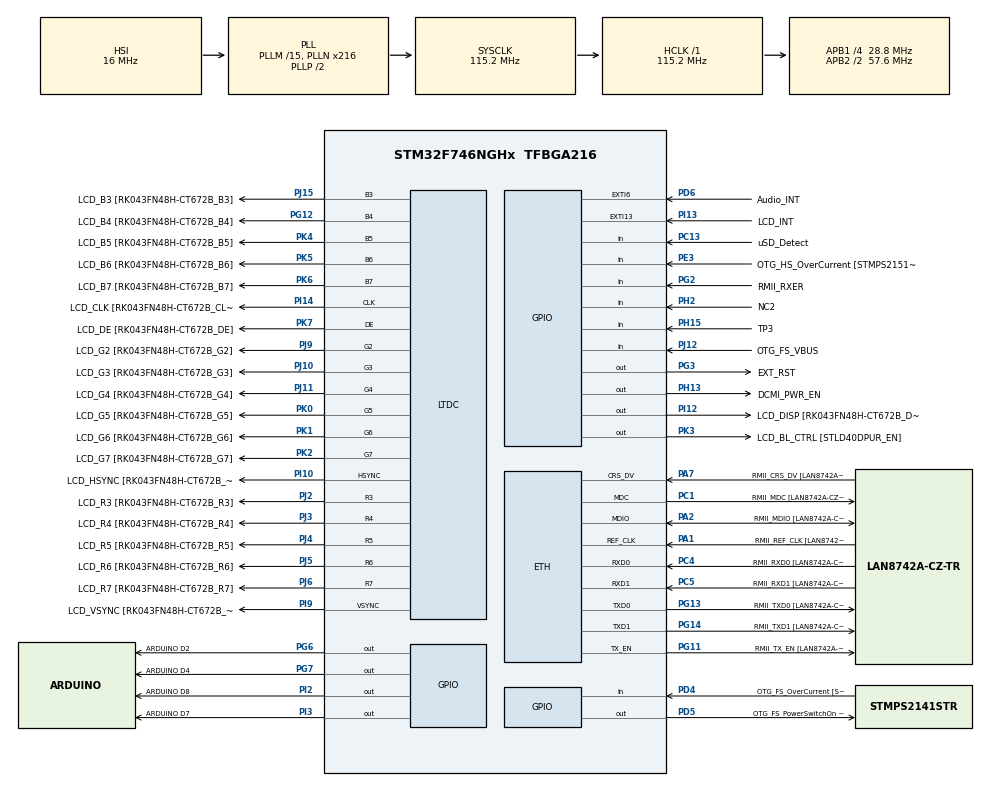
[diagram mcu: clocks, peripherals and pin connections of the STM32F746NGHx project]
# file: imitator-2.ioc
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CORTEX_M7.CPU_DCache=Disabled
CORTEX_M7.CPU_ICache=Disabled
CORTEX_M7.MPU_Control=__NULL
ETH.MediaInterface=HAL_ETH_RMII_MODE
FREERTOS.Tasks01=defaultTask,24,512,StartDefaultTask,Default,NULL,Dynamic,NULL,NULL;myTask,24,512,StartTaskEtherStates,Default,NULL,Dynamic,NULL,NULL
FREERTOS.configUSE_NEWLIB_REENTRANT=1
LTDC.ActiveH=272
LTDC.ActiveW=480
LTDC.Alpha_L0=255
LTDC.HBP=43
LTDC.HFP=8
LTDC.HSync=1
LTDC.ImageHeight_L0=272
LTDC.ImageWidth_L0=480
LTDC.Layers=0
LTDC.PixelFormat_L0=LTDC_PIXEL_FORMAT_RGB565
LTDC.VBP=12
LTDC.VFP=4
LTDC.VSync=10
LTDC.WindowX1_L0=480
LTDC.WindowY1_L0=272
LWIP.BSP.number=1
LWIP.DEFAULT_THREAD_PRIO=3
LWIP.GATEWAY_ADDRESS=192.168.000.001
LWIP.IP_ADDRESS=192.168.000.123
LWIP.LWIP_DHCP=0
LWIP.LWIP_HTTPD=0
LWIP.LWIP_ICMP=1
LWIP.MEM_SIZE=4096
LWIP.NETMASK_ADDRESS=255.255.255.000
LWIP.SYS_LIGHTWEIGHT_PROT=1
LWIP.Version=v2.1.2_Cube
LWIP0.BSP.STBoard=false
LWIP0.BSP.api=BSP_COMPONENT_DRIVER
LWIP0.BSP.component=LAN8742
LWIP0.BSP.instance=LAN8742
LWIP0.BSP.name=Driver_PHY
LWIP0.BSP.semaphore=S_LAN8742
LWIP0.BSP.solution=LAN8742
Mcu.Family=STM32F7
Mcu.Name=STM32F746NGHx
Mcu.Package=TFBGA216
NVIC.ETH_IRQn=true\:5\:0\:false\:false\:true\:true\:true\:true\:true
NVIC.LTDC_ER_IRQn=true\:5\:0\:false\:false\:true\:true\:true\:true\:true
NVIC.LTDC_IRQn=true\:5\:0\:false\:false\:true\:true\:true\:true\:true
NVIC.PriorityGroup=NVIC_PRIORITYGROUP_4
NVIC.RCC_IRQn=true\:5\:0\:false\:false\:true\:true\:true\:false\:true
NVIC.TIM6_DAC_IRQn=true\:15\:0\:false\:false\:true\:false\:false\:true\:true
NVIC.TimeBase=TIM6_DAC_IRQn
NVIC.TimeBaseIP=TIM6
PA0/WKUP.Signal=ADCx_IN0
PA1.GPIO_Label=RMII_REF_CLK [LAN8742A-CZ-TR_REFCLK0]
PA1.Mode=RMII
PA1.Signal=ETH_REF_CLK
PA10.GPIO_Label=OTG_FS_ID
PA10.Signal=USB_OTG_FS_ID
PA11.GPIO_Label=OTG_FS_N
PA11.Signal=USB_OTG_FS_DM
PA12.GPIO_Label=OTG_FS_P
PA12.Signal=USB_OTG_FS_DP
PA13.GPIO_Label=SWDIO
PA13.Signal=SYS_JTMS-SWDIO
PA14.GPIO_Label=SWCLK
PA14.Signal=SYS_JTCK-SWCLK
PA15.GPIO_Label=ARDUINO PWM/D9
PA15.GPIO_ModeDefaultPP=GPIO_MODE_AF_PP
PA15.GPIO_PuPd=GPIO_NOPULL
PA15.GPIO_Speed=GPIO_SPEED_FREQ_LOW
PA15.Signal=S_TIM2_CH1_ETR
PA2.GPIO_Label=RMII_MDIO [LAN8742A-CZ-TR_MDIO]
PA2.Mode=RMII
PA2.Signal=ETH_MDIO
PA3.GPIO_Label=ULPI_D0 [USB3320C-EZK_D0]
PA3.Signal=USB_OTG_HS_ULPI_D0
PA4.GPIO_Label=DCMI_HSYNC
PA4.Signal=DCMI_HSYNC
PA5.GPIO_Label=ULPI_CLK [USB3320C-EZK_CLKOUT]
PA5.Signal=USB_OTG_HS_ULPI_CK
PA6.Signal=DCMI_PIXCLK
PA7.GPIO_Label=RMII_CRS_DV [LAN8742A-CZ-TR_CRS_DV]
PA7.Mode=RMII
PA7.Signal=ETH_CRS_DV
PA8.GPIO_Label=ARDUINO PWM/D10
PA8.GPIO_ModeDefaultPP=GPIO_MODE_AF_PP
PA8.GPIO_PuPd=GPIO_NOPULL
PA8.GPIO_Speed=GPIO_SPEED_FREQ_LOW
PA8.Signal=S_TIM1_CH1
PA9.GPIO_Label=VCP_TX [STM32F103CBT6_PA3]
PA9.GPIO_Mode=GPIO_MODE_AF_PP
PA9.GPIO_PuPd=GPIO_NOPULL
PA9.GPIO_Speed=GPIO_SPEED_FREQ_LOW
PA9.Signal=USART1_TX
PB0.GPIO_Label=ULPI_D1 [USB3320C-EZK_D1]
PB0.Signal=USB_OTG_HS_ULPI_D1
PB1.GPIO_Label=ULPI_D2 [USB3320C-EZK_D2]
PB1.Signal=USB_OTG_HS_ULPI_D2
PB10.GPIO_Label=ULPI_D3 [USB3320C-EZK_D3]
PB10.Signal=USB_OTG_HS_ULPI_D3
PB11.GPIO_Label=ULPI_D4 [USB3320C-EZK_D4]
PB11.Signal=USB_OTG_HS_ULPI_D4
PB12.GPIO_Label=ULPI_D5 [USB3320C-EZK_D5]
PB12.Signal=USB_OTG_HS_ULPI_D5
PB13.GPIO_Label=ULPI_D6 [USB3320C-EZK_D6]
PB13.Signal=USB_OTG_HS_ULPI_D6
PB14.GPIO_Label=ARDUINO MISO/D12
PB14.GPIO_Mode=GPIO_MODE_AF_PP
PB14.GPIO_PuPd=GPIO_NOPULL
PB14.GPIO_Speed=GPIO_SPEED_FREQ_LOW
PB14.Signal=SPI2_MISO
PB15.GPIO_Label=ARDUINO MOSI/PWM/D11
PB15.GPIO_Mode=GPIO_MODE_AF_PP
PB15.GPIO_PuPd=GPIO_NOPULL
PB15.GPIO_Speed=GPIO_SPEED_FREQ_LOW
PB15.Signal=SPI2_MOSI
PB2.Signal=QUADSPI_CLK
PB3.GPIO_Label=SWO
PB3.Signal=SYS_JTDO-SWO
PB4.GPIO_Label=ARDUINO PWM/D3
PB4.GPIO_ModeDefaultPP=GPIO_MODE_AF_PP
PB4.GPIO_PuPd=GPIO_NOPULL
PB4.GPIO_Speed=GPIO_SPEED_FREQ_LOW
PB4.Signal=S_TIM3_CH1
PB5.GPIO_Label=ULPI_D7 [USB3320C-EZK_D7]
PB5.Signal=USB_OTG_HS_ULPI_D7
PB6.GPIO_Label=QSPI_NCS [N25Q128A13EF840E_S]
PB6.Signal=QUADSPI_BK1_NCS
PB7.GPIO_Label=VCP_RX [STM32F103CBT6_PA2]
PB7.GPIO_Mode=GPIO_MODE_AF_PP
PB7.GPIO_PuPd=GPIO_NOPULL
PB7.GPIO_Speed=GPIO_SPEED_FREQ_LOW
PB7.Signal=USART1_RX
PB8.GPIO_Label=ARDUINO SCL/D15
PB8.GPIO_Mode=GPIO_MODE_AF_OD
PB8.GPIO_PuPd=GPIO_NOPULL
PB8.GPIO_Speed=GPIO_SPEED_FREQ_LOW
PB8.Signal=I2C1_SCL
PB9.GPIO_Label=ARDUINO SDA/D14
PB9.GPIO_Mode=GPIO_MODE_AF_OD
PB9.GPIO_PuPd=GPIO_NOPULL
PB9.GPIO_Speed=GPIO_SPEED_FREQ_LOW
PB9.Signal=I2C1_SDA
PC0.GPIO_Label=ULPI_STP [USB3320C-EZK_STP]
PC0.Signal=USB_OTG_HS_ULPI_STP
PC1.GPIO_Label=RMII_MDC [LAN8742A-CZ-TR_MDC]
PC1.Mode=RMII
PC1.Signal=ETH_MDC
PC10.GPIO_Label=SDMMC_D2
PC10.Signal=SDMMC1_D2
PC11.GPIO_Label=SDMMC_D3
PC11.Signal=SDMMC1_D3
PC12.GPIO_Label=SDMMC_CK
PC12.Signal=SDMMC1_CK
PC13.GPIO_Label=uSD_Detect
PC13.Signal=GPIO_Input
PC14/OSC32_IN.GPIO_Label=RCC_OSC32_IN
PC14/OSC32_IN.Signal=RCC_OSC32_IN
PC15/OSC32_OUT.GPIO_Label=RCC_OSC32_OUT
PC15/OSC32_OUT.Signal=RCC_OSC32_OUT
PC2.GPIO_Label=ULPI_DIR [USB3320C-EZK_DIR]
PC2.Signal=USB_OTG_HS_ULPI_DIR
PC3.GPIO_Label=FMC_SDCKE0 [MT48LC4M32B2B5-6A_CKE]
PC3.Signal=FMC_SDCKE0
PC4.GPIO_Label=RMII_RXD0 [LAN8742A-CZ-TR_RXD0]
PC4.Mode=RMII
PC4.Signal=ETH_RXD0
PC5.GPIO_Label=RMII_RXD1 [LAN8742A-CZ-TR_RXD1]
PC5.Mode=RMII
PC5.Signal=ETH_RXD1
PC6.GPIO_Label=ARDUINO TX/D1
PC6.Signal=USART6_TX
PC7.GPIO_Label=ARDUINO RX/D0
PC7.Signal=USART6_RX
PC8.Signal=SDMMC1_D0
PC9.Signal=SDMMC1_D1
PD0.GPIO_Label=FMC_D2 [MT48LC4M32B2B5-6A_DQ2]
PD0.Signal=FMC_D2_DA2
PD1.GPIO_Label=FMC_D3 [MT48LC4M32B2B5-6A_DQ3]
PD1.Signal=FMC_D3_DA3
PD10.GPIO_Label=FMC_D15 [MT48LC4M32B2B5-6A_DQ15]
PD10.Signal=FMC_D15_DA15
PD11.GPIO_Label=QSPI_D0 [N25Q128A13EF840E_DQ0]
PD11.Signal=QUADSPI_BK1_IO0
PD12.GPIO_Label=QSPI_D1 [N25Q128A13EF840E_DQ1]
PD12.Signal=QUADSPI_BK1_IO1
PD13.GPIO_Label=QSPI_D3 [N25Q128A13EF840E_DQ3]
PD13.Signal=QUADSPI_BK1_IO3
PD14.GPIO_Label=FMC_D0 [MT48LC4M32B2B5-6A_DQ0]
PD14.Signal=FMC_D0_DA0
PD15.GPIO_Label=FMC_D1 [MT48LC4M32B2B5-6A_DQ1]
PD15.Signal=FMC_D1_DA1
PD2.GPIO_Label=SDMMC_D0
PD2.Signal=SDMMC1_CMD
PD3.GPIO_Label=DCMI_D5
PD3.Signal=DCMI_D5
PD4.GPIO_Label=OTG_FS_OverCurrent [STMPS2141STR_Fault]
PD4.Signal=GPIO_Input
PD5.GPIO_Label=OTG_FS_PowerSwitchOn [STMPS2141STR_EN]
PD5.PinState=GPIO_PIN_SET
PD5.Signal=GPIO_Output
PD6.GPIO_Label=Audio_INT
PD6.GPIO_ModeDefaultEXTI=GPIO_MODE_EVT_RISING
PD6.Signal=GPXTI6
PD7.GPIO_Label=SPDIF_RX0 [74LVC1G04SE_4]
PD7.Signal=SPDIFRX_IN0
PD8.GPIO_Label=FMC_D13 [MT48LC4M32B2B5-6A_DQ13]
PD8.Signal=FMC_D13_DA13
PD9.GPIO_Label=FMC_D14 [MT48LC4M32B2B5-6A_DQ14]
PD9.Signal=FMC_D14_DA14
PE0.GPIO_Label=FMC_NBL0 [MT48LC4M32B2B5-6A_DQM0]
PE0.Signal=FMC_NBL0
PE1.GPIO_Label=FMC_NBL1 [MT48LC4M32B2B5-6A_DQM1]
PE1.Signal=FMC_NBL1
PE10.GPIO_Label=FMC_D7 [MT48LC4M32B2B5-6A_DQ7]
PE10.Signal=FMC_D7_DA7
PE11.GPIO_Label=FMC_D8 [MT48LC4M32B2B5-6A_DQ8]
PE11.Signal=FMC_D8_DA8
PE12.GPIO_Label=FMC_D9 [MT48LC4M32B2B5-6A_DQ9]
PE12.Signal=FMC_D9_DA9
PE13.GPIO_Label=FMC_D10 [MT48LC4M32B2B5-6A_DQ10]
PE13.Signal=FMC_D10_DA10
PE14.GPIO_Label=FMC_D11 [MT48LC4M32B2B5-6A_DQ11]
PE14.Signal=FMC_D11_DA11
PE15.GPIO_Label=FMC_D12 [MT48LC4M32B2B5-6A_DQ12]
PE15.Signal=FMC_D12_DA12
PE2.GPIO_Label=QSPI_D2 [N25Q128A13EF840E_DQ2]
PE2.Signal=QUADSPI_BK1_IO2
PE3.GPIO_Label=OTG_HS_OverCurrent [STMPS2151STR_FAULT]
PE3.Signal=GPIO_Input
PE4.GPIO_Label=LCD_B0 [RK043FN48H-CT672B_B0]
PE4.Signal=LTDC_B0
PE5.GPIO_Label=DCMI_D6
PE5.Signal=DCMI_D6
PE6.GPIO_Label=DCMI_D7
PE6.Signal=DCMI_D7
PE7.GPIO_Label=FMC_D4 [MT48LC4M32B2B5-6A_DQ4]
PE7.Signal=FMC_D4_DA4
PE8.GPIO_Label=FMC_D5 [MT48LC4M32B2B5-6A_DQ5]
PE8.Signal=FMC_D5_DA5
PE9.GPIO_Label=FMC_D6 [MT48LC4M32B2B5-6A_DQ6]
PE9.Signal=FMC_D6_DA6
PF0.GPIO_Label=FMC_A0 [MT48LC4M32B2B5-6A_A0]
PF0.Signal=FMC_A0
PF1.GPIO_Label=FMC_A1 [MT48LC4M32B2B5-6A_A1]
PF1.Signal=FMC_A1
PF10.GPIO_Label=ARDUINO A1
PF10.GPIO_Mode=GPIO_MODE_ANALOG
PF10.GPIO_PuPd=GPIO_NOPULL
PF10.Signal=ADC3_IN8
PF11.GPIO_Label=FMC_SDNRAS [MT48LC4M32B2B5-6A_RAS]
PF11.Signal=FMC_SDNRAS
PF12.GPIO_Label=FMC_A6 [MT48LC4M32B2B5-6A_A6]
PF12.Signal=FMC_A6
PF13.GPIO_Label=FMC_A7 [MT48LC4M32B2B5-6A_A7]
PF13.Signal=FMC_A7
PF14.GPIO_Label=FMC_A8 [MT48LC4M32B2B5-6A_A8]
PF14.Signal=FMC_A8
PF15.GPIO_Label=FMC_A9 [MT48LC4M32B2B5-6A_A9]
PF15.Signal=FMC_A9
PF2.GPIO_Label=FMC_A2 [MT48LC4M32B2B5-6A_A2]
PF2.Signal=FMC_A2
PF3.GPIO_Label=FMC_A3 [MT48LC4M32B2B5-6A_A3]
PF3.Signal=FMC_A3
PF4.GPIO_Label=FMC_A4 [MT48LC4M32B2B5-6A_A4]
PF4.Signal=FMC_A4
PF5.GPIO_Label=FMC_A5 [MT48LC4M32B2B5-6A_A5]
PF5.Signal=FMC_A5
PF6.GPIO_Label=ARDUINO A5
PF6.GPIO_Mode=GPIO_MODE_ANALOG
PF6.GPIO_PuPd=GPIO_NOPULL
PF6.Signal=ADC3_IN4
PF7.GPIO_Label=ARDUINO A4
PF7.GPIO_Mode=GPIO_MODE_ANALOG
PF7.GPIO_PuPd=GPIO_NOPULL
PF7.Signal=ADC3_IN5
PF8.GPIO_Label=ARDUINO A3
PF8.GPIO_Mode=GPIO_MODE_ANALOG
PF8.GPIO_PuPd=GPIO_NOPULL
PF8.Signal=ADC3_IN6
PF9.GPIO_Label=ARDUINO A2
PF9.GPIO_Mode=GPIO_MODE_ANALOG
PF9.GPIO_PuPd=GPIO_NOPULL
PF9.Signal=ADC3_IN7
PG0.GPIO_Label=FMC_A10 [MT48LC4M32B2B5-6A_A10]
PG0.Signal=FMC_A10
PG1.GPIO_Label=FMC_A11 [MT48LC4M32B2B5-6A_A11]
PG1.Signal=FMC_A11
PG10.GPIO_Label=SAI2_SDB [WM8994ECS/R_ADCDAT1]
PG10.Signal=SAI2_SD_B
PG11.GPIO_Label=RMII_TX_EN [LAN8742A-CZ-TR_TXEN]
PG11.Mode=RMII
PG11.Signal=ETH_TX_EN
PG12.GPIO_Label=LCD_B4 [RK043FN48H-CT672B_B4]
PG12.Mode=RGB565
PG12.Signal=LTDC_B4
PG13.GPIO_Label=RMII_TXD0 [LAN8742A-CZ-TR_TXD0]
PG13.Mode=RMII
PG13.Signal=ETH_TXD0
PG14.GPIO_Label=RMII_TXD1 [LAN8742A-CZ-TR_TXD1]
PG14.Mode=RMII
PG14.Signal=ETH_TXD1
PG15.GPIO_Label=FMC_SDNCAS [MT48LC4M32B2B5-6A_CAS]
PG15.Signal=FMC_SDNCAS
PG2.GPIO_Label=RMII_RXER
PG2.Signal=GPIO_Input
PG3.GPIO_Label=EXT_RST
PG3.Signal=GPIO_Output
PG4.GPIO_Label=FMC_BA0 [MT48LC4M32B2B5-6A_BA0]
PG4.Signal=FMC_A14_BA0
PG5.GPIO_Label=FMC_BA1 [MT48LC4M32B2B5-6A_BA1]
PG5.Signal=FMC_A15_BA1
PG6.GPIO_Label=ARDUINO D2
PG6.Signal=GPIO_Output
PG7.GPIO_Label=ARDUINO D4
PG7.Signal=GPIO_Output
PG8.GPIO_Label=FMC_SDCLK [MT48LC4M32B2B5-6A_CLK]
PG8.Signal=FMC_SDCLK
PG9.GPIO_Label=DCMI_VSYNC
PG9.Signal=DCMI_VSYNC
PH0/OSC_IN.GPIO_Label=OSC_25M [NZ2520SB-25.00M_OUT]
PH0/OSC_IN.Mode=HSE-External-Oscillator
PH0/OSC_IN.Signal=RCC_OSC_IN
PH1/OSC_OUT.Mode=HSE-External-Oscillator
PH1/OSC_OUT.Signal=RCC_OSC_OUT
PH10.GPIO_Label=DCMI_D1
PH10.Signal=DCMI_D1
PH11.GPIO_Label=DCMI_D2
PH11.Signal=DCMI_D2
PH12.GPIO_Label=DCMI_D3
PH12.Signal=DCMI_D3
PH13.GPIO_Label=DCMI_PWR_EN
PH13.Signal=GPIO_Output
PH14.GPIO_Label=DCMI_D4
PH14.Signal=DCMI_D4
PH15.GPIO_Label=TP3
PH15.Signal=GPIO_Input
PH2.GPIO_Label=NC2
PH2.Signal=GPIO_Input
PH3.GPIO_Label=FMC_SDNE0 [MT48LC4M32B2B5-6A_CS]
PH3.Signal=FMC_SDNE0
PH4.GPIO_Label=ULPI_NXT [USB3320C-EZK_NXT]
PH4.Signal=USB_OTG_HS_ULPI_NXT
PH5.GPIO_Label=FMC_SDNME [MT48LC4M32B2B5-6A_WE]
PH5.Signal=FMC_SDNWE
PH6.GPIO_Label=ARDUINO PWM/D6
PH6.Signal=S_TIM12_CH1
PH7.GPIO_Label=LCD_SCL [RK043FN48H-CT672B_SCL]
PH7.Signal=I2C3_SCL
PH8.GPIO_Label=LCD_SDA [RK043FN48H-CT672B_SDA]
PH8.Signal=I2C3_SDA
PH9.GPIO_Label=DCMI_D0
PH9.Signal=DCMI_D0
PI0.GPIO_Label=ARDUINO PWM/CS/D5
PI0.GPIO_ModeDefaultPP=GPIO_MODE_AF_PP
PI0.GPIO_PuPd=GPIO_NOPULL
PI0.GPIO_Speed=GPIO_SPEED_FREQ_LOW
PI0.Signal=S_TIM5_CH4
PI1.GPIO_Label=ARDUINO SCK/D13
PI1.GPIO_Mode=GPIO_MODE_AF_PP
PI1.GPIO_PuPd=GPIO_NOPULL
PI1.GPIO_Speed=GPIO_SPEED_FREQ_LOW
PI1.Signal=SPI2_SCK
PI10.GPIO_Label=LCD_HSYNC [RK043FN48H-CT672B_HSYNC]
PI10.Mode=RGB565
PI10.Signal=LTDC_HSYNC
PI12.GPIO_Label=LCD_DISP [RK043FN48H-CT672B_DISP] 
PI12.PinState=GPIO_PIN_SET
PI12.Signal=GPIO_Output
PI13.GPIO_Label=LCD_INT
PI13.GPIO_ModeDefaultEXTI=GPIO_MODE_EVT_RISING
PI13.Signal=GPXTI13
PI14.GPIO_Label=LCD_CLK [RK043FN48H-CT672B_CLK]
PI14.Mode=RGB565
PI14.Signal=LTDC_CLK
PI15.GPIO_Label=LCD_R0 [RK043FN48H-CT672B_R0]
PI15.Signal=LTDC_R0
PI2.GPIO_Label=ARDUINO D8
PI2.Signal=GPIO_Output
PI3.GPIO_Label=ARDUINO D7
PI3.Signal=GPIO_Output
PI4.GPIO_Label=SAI2_MCLKA [WM8994ECS/R_MCLK1]
PI4.Signal=SAI2_MCLK_A
PI5.GPIO_Label=SAI2_SCKA [WM8994ECS/R_BCLK1]
PI5.Signal=SAI2_SCK_A
PI6.GPIO_Label=SAI2_SDA [WM8994ECS/R_DACDAT1]
PI6.Signal=SAI2_SD_A
PI7.GPIO_Label=SAI2_FSA [WM8994ECS/R_LRCLK1]
PI7.Signal=SAI2_FS_A
PI8.GPIO_Label=NC1 [TP2]
PI8.Signal=RTC_TS
PI9.GPIO_Label=LCD_VSYNC [RK043FN48H-CT672B_VSYNC]
PI9.Mode=RGB565
PI9.Signal=LTDC_VSYNC
PJ0.GPIO_Label=LCD_R1 [RK043FN48H-CT672B_R1]
PJ0.Signal=LTDC_R1
PJ1.GPIO_Label=LCD_R2 [RK043FN48H-CT672B_R2]
PJ1.Signal=LTDC_R2
PJ10.GPIO_Label=LCD_G3 [RK043FN48H-CT672B_G3]
PJ10.Mode=RGB565
PJ10.Signal=LTDC_G3
PJ11.GPIO_Label=LCD_G4 [RK043FN48H-CT672B_G4]
PJ11.Mode=RGB565
PJ11.Signal=LTDC_G4
PJ12.GPIO_Label=OTG_FS_VBUS
PJ12.Signal=GPIO_Input
PJ13.GPIO_Label=LCD_B1 [RK043FN48H-CT672B_B1]
PJ13.Signal=LTDC_B1
PJ14.GPIO_Label=LCD_B2 [RK043FN48H-CT672B_B2]
PJ14.Signal=LTDC_B2
PJ15.GPIO_Label=LCD_B3 [RK043FN48H-CT672B_B3]
PJ15.Mode=RGB565
PJ15.Signal=LTDC_B3
PJ2.GPIO_Label=LCD_R3 [RK043FN48H-CT672B_R3]
PJ2.Mode=RGB565
PJ2.Signal=LTDC_R3
PJ3.GPIO_Label=LCD_R4 [RK043FN48H-CT672B_R4]
PJ3.Mode=RGB565
PJ3.Signal=LTDC_R4
PJ4.GPIO_Label=LCD_R5 [RK043FN48H-CT672B_R5]
PJ4.Mode=RGB565
PJ4.Signal=LTDC_R5
PJ5.GPIO_Label=LCD_R6 [RK043FN48H-CT672B_R6]
PJ5.Mode=RGB565
PJ5.Signal=LTDC_R6
PJ6.GPIO_Label=LCD_R7 [RK043FN48H-CT672B_R7]
PJ6.Mode=RGB565
PJ6.Signal=LTDC_R7
PJ7.GPIO_Label=LCD_G0 [RK043FN48H-CT672B_G0]
PJ7.Signal=LTDC_G0
PJ8.GPIO_Label=LCD_G1 [RK043FN48H-CT672B_G1]
PJ8.Signal=LTDC_G1
PJ9.GPIO_Label=LCD_G2 [RK043FN48H-CT672B_G2]
PJ9.Mode=RGB565
PJ9.Signal=LTDC_G2
PK0.GPIO_Label=LCD_G5 [RK043FN48H-CT672B_G5]
PK0.Mode=RGB565
PK0.Signal=LTDC_G5
PK1.GPIO_Label=LCD_G6 [RK043FN48H-CT672B_G6]
PK1.Mode=RGB565
PK1.Signal=LTDC_G6
PK2.GPIO_Label=LCD_G7 [RK043FN48H-CT672B_G7]
PK2.Mode=RGB565
PK2.Signal=LTDC_G7
PK3.GPIO_Label=LCD_BL_CTRL [STLD40DPUR_EN]
PK3.PinState=GPIO_PIN_SET
PK3.Signal=GPIO_Output
PK4.GPIO_Label=LCD_B5 [RK043FN48H-CT672B_B5]
PK4.Mode=RGB565
PK4.Signal=LTDC_B5
PK5.GPIO_Label=LCD_B6 [RK043FN48H-CT672B_B6]
PK5.Mode=RGB565
PK5.Signal=LTDC_B6
PK6.GPIO_Label=LCD_B7 [RK043FN48H-CT672B_B7]
PK6.Mode=RGB565
PK6.Signal=LTDC_B7
PK7.GPIO_Label=LCD_DE [RK043FN48H-CT672B_DE]
PK7.Mode=RGB565
PK7.Signal=LTDC_DE
ProjectManager.HeapSize=0x200
ProjectManager.StackSize=0x400
ProjectManager.TargetToolchain=STM32CubeIDE
RCC.AHBFreq_Value=115200000.00000001
RCC.APB1CLKDivider=RCC_HCLK_DIV4
RCC.APB1Freq_Value=28800000.000000004
RCC.APB1TimFreq_Value=57600000.00000001
RCC.APB2CLKDivider=RCC_HCLK_DIV2
RCC.APB2Freq_Value=57600000.00000001
RCC.APB2TimFreq_Value=115200000.00000001
RCC.CortexFreq_Value=115200000.00000001
RCC.HCLKFreq_Value=115200000.00000001
RCC.HSE_VALUE=25000000
RCC.HSI_VALUE=16000000
RCC.LSE_VALUE=32768
RCC.PLLM=15
RCC.PLLN=216
RCC.PLLSAIN=249
RCC.PLLSAIRDiv=RCC_PLLSAIDIVR_8
RCC.PLLSourceVirtual=RCC_PLLSOURCE_HSI
RCC.SYSCLKFreq_VALUE=115200000.00000001
RCC.SYSCLKSource=RCC_SYSCLKSOURCE_PLLCLK
RCC.USBFreq_Value=115200000.00000001
RCC.VCOOutputFreq_Value=230400000.00000003
SH.ADCx_IN0.0=ADC3_IN0
SH.ADCx_IN0.1=ADC1_IN0
SH.FMC_A0.0=FMC_A0
SH.FMC_A1.0=FMC_A1
SH.FMC_A10.0=FMC_A10
SH.FMC_A11.0=FMC_A11
SH.FMC_A14_BA0.0=FMC_BA0
SH.FMC_A15_BA1.0=FMC_BA1
SH.FMC_A2.0=FMC_A2
SH.FMC_A3.0=FMC_A3
SH.FMC_A4.0=FMC_A4
SH.FMC_A5.0=FMC_A5
SH.FMC_A6.0=FMC_A6
SH.FMC_A7.0=FMC_A7
SH.FMC_A8.0=FMC_A8
SH.FMC_A9.0=FMC_A9
SH.FMC_D0_DA0.0=FMC_D0
SH.FMC_D10_DA10.0=FMC_D10
SH.FMC_D11_DA11.0=FMC_D11
SH.FMC_D12_DA12.0=FMC_D12
SH.FMC_D13_DA13.0=FMC_D13
SH.FMC_D14_DA14.0=FMC_D14
SH.FMC_D15_DA15.0=FMC_D15
SH.FMC_D1_DA1.0=FMC_D1
SH.FMC_D2_DA2.0=FMC_D2
SH.FMC_D3_DA3.0=FMC_D3
SH.FMC_D4_DA4.0=FMC_D4
SH.FMC_D5_DA5.0=FMC_D5
SH.FMC_D6_DA6.0=FMC_D6
SH.FMC_D7_DA7.0=FMC_D7
SH.FMC_D8_DA8.0=FMC_D8
SH.FMC_D9_DA9.0=FMC_D9
SH.FMC_NBL0.0=FMC_NBL0
SH.FMC_NBL1.0=FMC_NBL1
SH.FMC_SDCLK.0=FMC_SDCLK
SH.FMC_SDNCAS.0=FMC_SDNCAS
SH.FMC_SDNRAS.0=FMC_SDNRAS
SH.FMC_SDNWE.0=FMC_SDNWE
SH.S_TIM12_CH1.0=TIM12_CH1
SH.S_TIM1_CH1.0=TIM1_CH1
SH.S_TIM2_CH1_ETR.0=TIM2_CH1
SH.S_TIM3_CH1.0=TIM3_CH1
SH.S_TIM5_CH4.0=TIM5_CH4
VP_FREERTOS_VS_CMSIS_V2.Mode=CMSIS_V2
VP_LWIP_VS_Enabled.Mode=Enabled
VP_SYS_VS_tim6.Mode=TIM6
board=STM32F746G-DISCO

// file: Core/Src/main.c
/* USER CODE BEGIN Header */
/**
	******************************************************************************
	* @file           : main.c
	* @brief          : Main program body
	******************************************************************************
	* @attention
	*
	* Copyright (c) 2024 STMicroelectronics.
	* All rights reserved.
	*
	* This software is licensed under terms that can be found in the LICENSE file
	* in the root directory of this software component.
	* If no LICENSE file comes with this software, it is provided AS-IS.
	*
	******************************************************************************
	*/
/* USER CODE END Header */
#include "main.h"
#include "cmsis_os.h"
#include "lwip.h"

/* USER CODE BEGIN Includes */
#include "keyboard.h"
#include "spinner.h"
#include "switch.h"
#include "disp.h"
#include "logic.h"
#include "ether.h"
/* USER CODE END Includes */

LTDC_HandleTypeDef hltdc;

/* Definitions for defaultTask */
osThreadId_t defaultTaskHandle;
const osThreadAttr_t defaultTask_attributes = {
  .name = "defaultTask",
  .stack_size = 512 * 4,
  .priority = (osPriority_t) osPriorityNormal,
};
/* Definitions for myTask */
osThreadId_t myTaskHandle;
const osThreadAttr_t myTask_attributes = {
  .name = "myTask",
  .stack_size = 512 * 4,
  .priority = (osPriority_t) osPriorityNormal,
};
/* USER CODE BEGIN PV */
void inf_loop(){
	print_string(10, 40, "TEST!", 0x797);

	for(;;){
		state_machine();
		//state_ether();
		osDelay(1);
	}
}
/* USER CODE END PV */

void SystemClock_Config(void);
static void MX_GPIO_Init(void);
static void MX_LTDC_Init(void);
void StartDefaultTask(void *argument);
void StartTaskEtherStates(void *argument);

int main(void)
{

  /* MCU Configuration--------------------------------------------------------*/

  /* Reset of all peripherals, Initializes the Flash interface and the Systick. */
  HAL_Init();

  /* Configure the system clock */
  SystemClock_Config();

  /* Initialize all configured peripherals */
  MX_GPIO_Init();
  MX_LTDC_Init();
  /* USER CODE BEGIN 2 */
	HAL_LTDC_SetAddress(&hltdc, (uint32_t)framebuf, LTDC_LAYER_1);

  /* USER CODE END 2 */

  /* Init scheduler */
  osKernelInitialize();

  /* Create the thread(s) */
  /* creation of defaultTask */
  defaultTaskHandle = osThreadNew(StartDefaultTask, NULL, &defaultTask_attributes);

  /* creation of myTask */
  myTaskHandle = osThreadNew(StartTaskEtherStates, NULL, &myTask_attributes);

  /* Start scheduler */
  osKernelStart();
  /* We should never get here as control is now taken by the scheduler */
  /* Infinite loop */
  /* USER CODE BEGIN WHILE */

	while (1)
	{

		//print_char(50, 50, 0xde, 0xFFFF);
		//state_machine();

		//HAL_Delay(50);

	}
    /* USER CODE END WHILE */

}

void SystemClock_Config(void)
{
  RCC_OscInitTypeDef RCC_OscInitStruct = {0};
  RCC_ClkInitTypeDef RCC_ClkInitStruct = {0};

  /** Configure the main internal regulator output voltage
  */
  __HAL_RCC_PWR_CLK_ENABLE();
  __HAL_PWR_VOLTAGESCALING_CONFIG(PWR_REGULATOR_VOLTAGE_SCALE3);

  /** Initializes the RCC Oscillators according to the specified parameters
  * in the RCC_OscInitTypeDef structure.
  */
  RCC_OscInitStruct.OscillatorType = RCC_OSCILLATORTYPE_HSI;
  RCC_OscInitStruct.HSIState = RCC_HSI_ON;
  RCC_OscInitStruct.HSICalibrationValue = RCC_HSICALIBRATION_DEFAULT;
  RCC_OscInitStruct.PLL.PLLState = RCC_PLL_ON;
  RCC_OscInitStruct.PLL.PLLSource = RCC_PLLSOURCE_HSI;
  RCC_OscInitStruct.PLL.PLLM = 15;
  RCC_OscInitStruct.PLL.PLLN = 216;
  RCC_OscInitStruct.PLL.PLLP = RCC_PLLP_DIV2;
  RCC_OscInitStruct.PLL.PLLQ = 2;
  if (HAL_RCC_OscConfig(&RCC_OscInitStruct) != HAL_OK)
  {
    Error_Handler();
  }

  /** Initializes the CPU, AHB and APB buses clocks
  */
  RCC_ClkInitStruct.ClockType = RCC_CLOCKTYPE_HCLK|RCC_CLOCKTYPE_SYSCLK
                              |RCC_CLOCKTYPE_PCLK1|RCC_CLOCKTYPE_PCLK2;
  RCC_ClkInitStruct.SYSCLKSource = RCC_SYSCLKSOURCE_PLLCLK;
  RCC_ClkInitStruct.AHBCLKDivider = RCC_SYSCLK_DIV1;
  RCC_ClkInitStruct.APB1CLKDivider = RCC_HCLK_DIV4;
  RCC_ClkInitStruct.APB2CLKDivider = RCC_HCLK_DIV2;

  if (HAL_RCC_ClockConfig(&RCC_ClkInitStruct, FLASH_LATENCY_3) != HAL_OK)
  {
    Error_Handler();
  }
}

static void MX_LTDC_Init(void)
{

  LTDC_LayerCfgTypeDef pLayerCfg = {0};

  hltdc.Instance = LTDC;
  hltdc.Init.HSPolarity = LTDC_HSPOLARITY_AL;
  hltdc.Init.VSPolarity = LTDC_VSPOLARITY_AL;
  hltdc.Init.DEPolarity = LTDC_DEPOLARITY_AL;
  hltdc.Init.PCPolarity = LTDC_PCPOLARITY_IPC;
  hltdc.Init.HorizontalSync = 0;
  hltdc.Init.VerticalSync = 9;
  hltdc.Init.AccumulatedHBP = 43;
  hltdc.Init.AccumulatedVBP = 21;
  hltdc.Init.AccumulatedActiveW = 523;
  hltdc.Init.AccumulatedActiveH = 293;
  hltdc.Init.TotalWidth = 531;
  hltdc.Init.TotalHeigh = 297;
  hltdc.Init.Backcolor.Blue = 0;
  hltdc.Init.Backcolor.Green = 0;
  hltdc.Init.Backcolor.Red = 0;
  if (HAL_LTDC_Init(&hltdc) != HAL_OK)
  {
    Error_Handler();
  }
  pLayerCfg.WindowX0 = 0;
  pLayerCfg.WindowX1 = 480;
  pLayerCfg.WindowY0 = 0;
  pLayerCfg.WindowY1 = 272;
  pLayerCfg.PixelFormat = LTDC_PIXEL_FORMAT_RGB565;
  pLayerCfg.Alpha = 255;
  pLayerCfg.Alpha0 = 0;
  pLayerCfg.BlendingFactor1 = LTDC_BLENDING_FACTOR1_CA;
  pLayerCfg.BlendingFactor2 = LTDC_BLENDING_FACTOR2_CA;
  pLayerCfg.FBStartAdress = 0;
  pLayerCfg.ImageWidth = 480;
  pLayerCfg.ImageHeight = 272;
  pLayerCfg.Backcolor.Blue = 0;
  pLayerCfg.Backcolor.Green = 0;
  pLayerCfg.Backcolor.Red = 0;
  if (HAL_LTDC_ConfigLayer(&hltdc, &pLayerCfg, 0) != HAL_OK)
  {
    Error_Handler();
  }

}

static void MX_GPIO_Init(void)
{
  GPIO_InitTypeDef GPIO_InitStruct = {0};

  /* GPIO Ports Clock Enable */
  __HAL_RCC_GPIOE_CLK_ENABLE();
  __HAL_RCC_GPIOG_CLK_ENABLE();
  __HAL_RCC_GPIOB_CLK_ENABLE();
  __HAL_RCC_GPIOD_CLK_ENABLE();
  __HAL_RCC_GPIOC_CLK_ENABLE();
  __HAL_RCC_GPIOA_CLK_ENABLE();
  __HAL_RCC_GPIOJ_CLK_ENABLE();
  __HAL_RCC_GPIOI_CLK_ENABLE();
  __HAL_RCC_GPIOK_CLK_ENABLE();
  __HAL_RCC_GPIOF_CLK_ENABLE();
  __HAL_RCC_GPIOH_CLK_ENABLE();

  /*Configure GPIO pin Output Level */
  HAL_GPIO_WritePin(OTG_FS_PowerSwitchOn_GPIO_Port, OTG_FS_PowerSwitchOn_Pin, GPIO_PIN_SET);

  /*Configure GPIO pin Output Level */
  HAL_GPIO_WritePin(GPIOI, ARDUINO_D7_Pin|ARDUINO_D8_Pin, GPIO_PIN_RESET);

  /*Configure GPIO pin Output Level */
  HAL_GPIO_WritePin(LCD_BL_CTRL_GPIO_Port, LCD_BL_CTRL_Pin, GPIO_PIN_SET);

  /*Configure GPIO pin Output Level */
  HAL_GPIO_WritePin(LCD_DISP_GPIO_Port, LCD_DISP_Pin, GPIO_PIN_SET);

  /*Configure GPIO pin Output Level */
  HAL_GPIO_WritePin(DCMI_PWR_EN_GPIO_Port, DCMI_PWR_EN_Pin, GPIO_PIN_RESET);

  /*Configure GPIO pin Output Level */
  HAL_GPIO_WritePin(GPIOG, ARDUINO_D4_Pin|ARDUINO_D2_Pin|EXT_RST_Pin, GPIO_PIN_RESET);

  /*Configure GPIO pin : OTG_HS_OverCurrent_Pin */
  GPIO_InitStruct.Pin = OTG_HS_OverCurrent_Pin;
  GPIO_InitStruct.Mode = GPIO_MODE_INPUT;
  GPIO_InitStruct.Pull = GPIO_NOPULL;
  HAL_GPIO_Init(OTG_HS_OverCurrent_GPIO_Port, &GPIO_InitStruct);

  /*Configure GPIO pin : QSPI_D2_Pin */
  GPIO_InitStruct.Pin = QSPI_D2_Pin;
  GPIO_InitStruct.Mode = GPIO_MODE_AF_PP;
  GPIO_InitStruct.Pull = GPIO_NOPULL;
  GPIO_InitStruct.Speed = GPIO_SPEED_FREQ_VERY_HIGH;
  GPIO_InitStruct.Alternate = GPIO_AF9_QUADSPI;
  HAL_GPIO_Init(QSPI_D2_GPIO_Port, &GPIO_InitStruct);

  /*Configure GPIO pins : FMC_NBL1_Pin FMC_NBL0_Pin FMC_D5_Pin FMC_D6_Pin
                           FMC_D8_Pin FMC_D11_Pin FMC_D4_Pin FMC_D7_Pin
                           FMC_D9_Pin FMC_D12_Pin FMC_D10_Pin */
  GPIO_InitStruct.Pin = FMC_NBL1_Pin|FMC_NBL0_Pin|FMC_D5_Pin|FMC_D6_Pin
                          |FMC_D8_Pin|FMC_D11_Pin|FMC_D4_Pin|FMC_D7_Pin
                          |FMC_D9_Pin|FMC_D12_Pin|FMC_D10_Pin;
  GPIO_InitStruct.Mode = GPIO_MODE_AF_PP;
  GPIO_InitStruct.Pull = GPIO_NOPULL;
  GPIO_InitStruct.Speed = GPIO_SPEED_FREQ_VERY_HIGH;
  GPIO_InitStruct.Alternate = GPIO_AF12_FMC;
  HAL_GPIO_Init(GPIOE, &GPIO_InitStruct);

  /*Configure GPIO pins : ARDUINO_SCL_D15_Pin ARDUINO_SDA_D14_Pin */
  GPIO_InitStruct.Pin = ARDUINO_SCL_D15_Pin|ARDUINO_SDA_D14_Pin;
  GPIO_InitStruct.Mode = GPIO_MODE_AF_OD;
  GPIO_InitStruct.Pull = GPIO_NOPULL;
  GPIO_InitStruct.Speed = GPIO_SPEED_FREQ_LOW;
  GPIO_InitStruct.Alternate = GPIO_AF4_I2C1;
  HAL_GPIO_Init(GPIOB, &GPIO_InitStruct);

  /*Configure GPIO pins : ULPI_D7_Pin ULPI_D6_Pin ULPI_D5_Pin ULPI_D3_Pin
                           ULPI_D2_Pin ULPI_D1_Pin ULPI_D4_Pin */
  GPIO_InitStruct.Pin = ULPI_D7_Pin|ULPI_D6_Pin|ULPI_D5_Pin|ULPI_D3_Pin
                          |ULPI_D2_Pin|ULPI_D1_Pin|ULPI_D4_Pin;
  GPIO_InitStruct.Mode = GPIO_MODE_AF_PP;
  GPIO_InitStruct.Pull = GPIO_NOPULL;
  GPIO_InitStruct.Speed = GPIO_SPEED_FREQ_VERY_HIGH;
  GPIO_InitStruct.Alternate = GPIO_AF10_OTG_HS;
  HAL_GPIO_Init(GPIOB, &GPIO_InitStruct);

  /*Configure GPIO pin : ARDUINO_PWM_D3_Pin */
  GPIO_InitStruct.Pin = ARDUINO_PWM_D3_Pin;
  GPIO_InitStruct.Mode = GPIO_MODE_AF_PP;
  GPIO_InitStruct.Pull = GPIO_NOPULL;
  GPIO_InitStruct.Speed = GPIO_SPEED_FREQ_LOW;
  GPIO_InitStruct.Alternate = GPIO_AF2_TIM3;
  HAL_GPIO_Init(ARDUINO_PWM_D3_GPIO_Port, &GPIO_InitStruct);

  /*Configure GPIO pin : SPDIF_RX0_Pin */
  GPIO_InitStruct.Pin = SPDIF_RX0_Pin;
  GPIO_InitStruct.Mode = GPIO_MODE_AF_PP;
  GPIO_InitStruct.Pull = GPIO_NOPULL;
  GPIO_InitStruct.Speed = GPIO_SPEED_FREQ_LOW;
  GPIO_InitStruct.Alternate = GPIO_AF8_SPDIFRX;
  HAL_GPIO_Init(SPDIF_RX0_GPIO_Port, &GPIO_InitStruct);

  /*Configure GPIO pins : SDMMC_CK_Pin SDMMC_D3_Pin SDMMC_D2_Pin PC9
                           PC8 */
  GPIO_InitStruct.Pin = SDMMC_CK_Pin|SDMMC_D3_Pin|SDMMC_D2_Pin|GPIO_PIN_9
                          |GPIO_PIN_8;
  GPIO_InitStruct.Mode = GPIO_MODE_AF_PP;
  GPIO_InitStruct.Pull = GPIO_NOPULL;
  GPIO_InitStruct.Speed = GPIO_SPEED_FREQ_VERY_HIGH;
  GPIO_InitStruct.Alternate = GPIO_AF12_SDMMC1;
  HAL_GPIO_Init(GPIOC, &GPIO_InitStruct);

  /*Configure GPIO pin : ARDUINO_PWM_D9_Pin */
  GPIO_InitStruct.Pin = ARDUINO_PWM_D9_Pin;
  GPIO_InitStruct.Mode = GPIO_MODE_AF_PP;
  GPIO_InitStruct.Pull = GPIO_NOPULL;
  GPIO_InitStruct.Speed = GPIO_SPEED_FREQ_LOW;
  GPIO_InitStruct.Alternate = GPIO_AF1_TIM2;
  HAL_GPIO_Init(ARDUINO_PWM_D9_GPIO_Port, &GPIO_InitStruct);

  /*Configure GPIO pins : DCMI_D6_Pin DCMI_D7_Pin */
  GPIO_InitStruct.Pin = DCMI_D6_Pin|DCMI_D7_Pin;
  GPIO_InitStruct.Mode = GPIO_MODE_AF_PP;
  GPIO_InitStruct.Pull = GPIO_NOPULL;
  GPIO_InitStruct.Speed = GPIO_SPEED_FREQ_LOW;
  GPIO_InitStruct.Alternate = GPIO_AF13_DCMI;
  HAL_GPIO_Init(GPIOE, &GPIO_InitStruct);

  /*Configure GPIO pin : VCP_RX_Pin */
  GPIO_InitStruct.Pin = VCP_RX_Pin;
  GPIO_InitStruct.Mode = GPIO_MODE_AF_PP;
  GPIO_InitStruct.Pull = GPIO_NOPULL;
  GPIO_InitStruct.Speed = GPIO_SPEED_FREQ_LOW;
  GPIO_InitStruct.Alternate = GPIO_AF7_USART1;
  HAL_GPIO_Init(VCP_RX_GPIO_Port, &GPIO_InitStruct);

  /*Configure GPIO pin : QSPI_NCS_Pin */
  GPIO_InitStruct.Pin = QSPI_NCS_Pin;
  GPIO_InitStruct.Mode = GPIO_MODE_AF_PP;
  GPIO_InitStruct.Pull = GPIO_NOPULL;
  GPIO_InitStruct.Speed = GPIO_SPEED_FREQ_VERY_HIGH;
  GPIO_InitStruct.Alternate = GPIO_AF10_QUADSPI;
  HAL_GPIO_Init(QSPI_NCS_GPIO_Port, &GPIO_InitStruct);

  /*Configure GPIO pins : FMC_SDNCAS_Pin FMC_SDCLK_Pin FMC_A11_Pin FMC_A10_Pin
                           FMC_BA1_Pin FMC_BA0_Pin */
  GPIO_InitStruct.Pin = FMC_SDNCAS_Pin|FMC_SDCLK_Pin|FMC_A11_Pin|FMC_A10_Pin
                          |FMC_BA1_Pin|FMC_BA0_Pin;
  GPIO_InitStruct.Mode = GPIO_MODE_AF_PP;
  GPIO_InitStruct.Pull = GPIO_NOPULL;
  GPIO_InitStruct.Speed = GPIO_SPEED_FREQ_VERY_HIGH;
  GPIO_InitStruct.Alternate = GPIO_AF12_FMC;
  HAL_GPIO_Init(GPIOG, &GPIO_InitStruct);

  /*Configure GPIO pin : OTG_FS_VBUS_Pin */
  GPIO_InitStruct.Pin = OTG_FS_VBUS_Pin;
  GPIO_InitStruct.Mode = GPIO_MODE_INPUT;
  GPIO_InitStruct.Pull = GPIO_NOPULL;
  HAL_GPIO_Init(OTG_FS_VBUS_GPIO_Port, &GPIO_InitStruct);

  /*Configure GPIO pin : Audio_INT_Pin */
  GPIO_InitStruct.Pin = Audio_INT_Pin;
  GPIO_InitStruct.Mode = GPIO_MODE_EVT_RISING;
  GPIO_InitStruct.Pull = GPIO_NOPULL;
  HAL_GPIO_Init(Audio_INT_GPIO_Port, &GPIO_InitStruct);

  /*Configure GPIO pins : FMC_D2_Pin FMC_D3_Pin FMC_D1_Pin FMC_D15_Pin
                           FMC_D0_Pin FMC_D14_Pin FMC_D13_Pin */
  GPIO_InitStruct.Pin = FMC_D2_Pin|FMC_D3_Pin|FMC_D1_Pin|FMC_D15_Pin
                          |FMC_D0_Pin|FMC_D14_Pin|FMC_D13_Pin;
  GPIO_InitStruct.Mode = GPIO_MODE_AF_PP;
  GPIO_InitStruct.Pull = GPIO_NOPULL;
  GPIO_InitStruct.Speed = GPIO_SPEED_FREQ_VERY_HIGH;
  GPIO_InitStruct.Alternate = GPIO_AF12_FMC;
  HAL_GPIO_Init(GPIOD, &GPIO_InitStruct);

  /*Configure GPIO pins : OTG_FS_P_Pin OTG_FS_N_Pin OTG_FS_ID_Pin */
  GPIO_InitStruct.Pin = OTG_FS_P_Pin|OTG_FS_N_Pin|OTG_FS_ID_Pin;
  GPIO_InitStruct.Mode = GPIO_MODE_AF_PP;
  GPIO_InitStruct.Pull = GPIO_NOPULL;
  GPIO_InitStruct.Speed = GPIO_SPEED_FREQ_VERY_HIGH;
  GPIO_InitStruct.Alternate = GPIO_AF10_OTG_FS;
  HAL_GPIO_Init(GPIOA, &GPIO_InitStruct);

  /*Configure GPIO pins : SAI2_MCLKA_Pin SAI2_SCKA_Pin SAI2_FSA_Pin SAI2_SDA_Pin */
  GPIO_InitStruct.Pin = SAI2_MCLKA_Pin|SAI2_SCKA_Pin|SAI2_FSA_Pin|SAI2_SDA_Pin;
  GPIO_InitStruct.Mode = GPIO_MODE_AF_PP;
  GPIO_InitStruct.Pull = GPIO_NOPULL;
  GPIO_InitStruct.Speed = GPIO_SPEED_FREQ_LOW;
  GPIO_InitStruct.Alternate = GPIO_AF10_SAI2;
  HAL_GPIO_Init(GPIOI, &GPIO_InitStruct);

  /*Configure GPIO pin : SAI2_SDB_Pin */
  GPIO_InitStruct.Pin = SAI2_SDB_Pin;
  GPIO_InitStruct.Mode = GPIO_MODE_AF_PP;
  GPIO_InitStruct.Pull = GPIO_NOPULL;
  GPIO_InitStruct.Speed = GPIO_SPEED_FREQ_LOW;
  GPIO_InitStruct.Alternate = GPIO_AF10_SAI2;
  HAL_GPIO_Init(SAI2_SDB_GPIO_Port, &GPIO_InitStruct);

  /*Configure GPIO pin : OTG_FS_PowerSwitchOn_Pin */
  GPIO_InitStruct.Pin = OTG_FS_PowerSwitchOn_Pin;
  GPIO_InitStruct.Mode = GPIO_MODE_OUTPUT_PP;
  GPIO_InitStruct.Pull = GPIO_NOPULL;
  GPIO_InitStruct.Speed = GPIO_SPEED_FREQ_LOW;
  HAL_GPIO_Init(OTG_FS_PowerSwitchOn_GPIO_Port, &GPIO_InitStruct);

  /*Configure GPIO pin : DCMI_D5_Pin */
  GPIO_InitStruct.Pin = DCMI_D5_Pin;
  GPIO_InitStruct.Mode = GPIO_MODE_AF_PP;
  GPIO_InitStruct.Pull = GPIO_NOPULL;
  GPIO_InitStruct.Speed = GPIO_SPEED_FREQ_LOW;
  GPIO_InitStruct.Alternate = GPIO_AF13_DCMI;
  HAL_GPIO_Init(DCMI_D5_GPIO_Port, &GPIO_InitStruct);

  /*Configure GPIO pins : ARDUINO_D7_Pin ARDUINO_D8_Pin LCD_DISP_Pin */
  GPIO_InitStruct.Pin = ARDUINO_D7_Pin|ARDUINO_D8_Pin|LCD_DISP_Pin;
  GPIO_InitStruct.Mode = GPIO_MODE_OUTPUT_PP;
  GPIO_InitStruct.Pull = GPIO_NOPULL;
  GPIO_InitStruct.Speed = GPIO_SPEED_FREQ_LOW;
  HAL_GPIO_Init(GPIOI, &GPIO_InitStruct);

  /*Configure GPIO pin : uSD_Detect_Pin */
  GPIO_InitStruct.Pin = uSD_Detect_Pin;
  GPIO_InitStruct.Mode = GPIO_MODE_INPUT;
  GPIO_InitStruct.Pull = GPIO_NOPULL;
  HAL_GPIO_Init(uSD_Detect_GPIO_Port, &GPIO_InitStruct);

  /*Configure GPIO pins : FMC_A0_Pin FMC_A1_Pin FMC_A2_Pin FMC_A3_Pin
                           FMC_A4_Pin FMC_A5_Pin FMC_A6_Pin FMC_A9_Pin
                           FMC_A7_Pin FMC_A8_Pin FMC_SDNRAS_Pin */
  GPIO_InitStruct.Pin = FMC_A0_Pin|FMC_A1_Pin|FMC_A2_Pin|FMC_A3_Pin
                          |FMC_A4_Pin|FMC_A5_Pin|FMC_A6_Pin|FMC_A9_Pin
                          |FMC_A7_Pin|FMC_A8_Pin|FMC_SDNRAS_Pin;
  GPIO_InitStruct.Mode = GPIO_MODE_AF_PP;
  GPIO_InitStruct.Pull = GPIO_NOPULL;
  GPIO_InitStruct.Speed = GPIO_SPEED_FREQ_VERY_HIGH;
  GPIO_InitStruct.Alternate = GPIO_AF12_FMC;
  HAL_GPIO_Init(GPIOF, &GPIO_InitStruct);

  /*Configure GPIO pin : LCD_BL_CTRL_Pin */
  GPIO_InitStruct.Pin = LCD_BL_CTRL_Pin;
  GPIO_InitStruct.Mode = GPIO_MODE_OUTPUT_PP;
  GPIO_InitStruct.Pull = GPIO_NOPULL;
  GPIO_InitStruct.Speed = GPIO_SPEED_FREQ_LOW;
  HAL_GPIO_Init(LCD_BL_CTRL_GPIO_Port, &GPIO_InitStruct);

  /*Configure GPIO pin : DCMI_VSYNC_Pin */
  GPIO_InitStruct.Pin = DCMI_VSYNC_Pin;
  GPIO_InitStruct.Mode = GPIO_MODE_AF_PP;
  GPIO_InitStruct.Pull = GPIO_NOPULL;
  GPIO_InitStruct.Speed = GPIO_SPEED_FREQ_LOW;
  GPIO_InitStruct.Alternate = GPIO_AF13_DCMI;
  HAL_GPIO_Init(DCMI_VSYNC_GPIO_Port, &GPIO_InitStruct);

  /*Configure GPIO pin : OTG_FS_OverCurrent_Pin */
  GPIO_InitStruct.Pin = OTG_FS_OverCurrent_Pin;
  GPIO_InitStruct.Mode = GPIO_MODE_INPUT;
  GPIO_InitStruct.Pull = GPIO_NOPULL;
  HAL_GPIO_Init(OTG_FS_OverCurrent_GPIO_Port, &GPIO_InitStruct);

  /*Configure GPIO pin : SDMMC_D0_Pin */
  GPIO_InitStruct.Pin = SDMMC_D0_Pin;
  GPIO_InitStruct.Mode = GPIO_MODE_AF_PP;
  GPIO_InitStruct.Pull = GPIO_NOPULL;
  GPIO_InitStruct.Speed = GPIO_SPEED_FREQ_VERY_HIGH;
  GPIO_InitStruct.Alternate = GPIO_AF12_SDMMC1;
  HAL_GPIO_Init(SDMMC_D0_GPIO_Port, &GPIO_InitStruct);

  /*Configure GPIO pins : TP3_Pin NC2_Pin */
  GPIO_InitStruct.Pin = TP3_Pin|NC2_Pin;
  GPIO_InitStruct.Mode = GPIO_MODE_INPUT;
  GPIO_InitStruct.Pull = GPIO_NOPULL;
  HAL_GPIO_Init(GPIOH, &GPIO_InitStruct);

  /*Configure GPIO pin : ARDUINO_SCK_D13_Pin */
  GPIO_InitStruct.Pin = ARDUINO_SCK_D13_Pin;
  GPIO_InitStruct.Mode = GPIO_MODE_AF_PP;
  GPIO_InitStruct.Pull = GPIO_NOPULL;
  GPIO_InitStruct.Speed = GPIO_SPEED_FREQ_LOW;
  GPIO_InitStruct.Alternate = GPIO_AF5_SPI2;
  HAL_GPIO_Init(ARDUINO_SCK_D13_GPIO_Port, &GPIO_InitStruct);

  /*Configure GPIO pin : DCMI_PWR_EN_Pin */
  GPIO_InitStruct.Pin = DCMI_PWR_EN_Pin;
  GPIO_InitStruct.Mode = GPIO_MODE_OUTPUT_PP;
  GPIO_InitStruct.Pull = GPIO_NOPULL;
  GPIO_InitStruct.Speed = GPIO_SPEED_FREQ_LOW;
  HAL_GPIO_Init(DCMI_PWR_EN_GPIO_Port, &GPIO_InitStruct);

  /*Configure GPIO pins : DCMI_D4_Pin DCMI_D3_Pin DCMI_D0_Pin DCMI_D2_Pin
                           DCMI_D1_Pin */
  GPIO_InitStruct.Pin = DCMI_D4_Pin|DCMI_D3_Pin|DCMI_D0_Pin|DCMI_D2_Pin
                          |DCMI_D1_Pin;
  GPIO_InitStruct.Mode = GPIO_MODE_AF_PP;
  GPIO_InitStruct.Pull = GPIO_NOPULL;
  GPIO_InitStruct.Speed = GPIO_SPEED_FREQ_LOW;
  GPIO_InitStruct.Alternate = GPIO_AF13_DCMI;
  HAL_GPIO_Init(GPIOH, &GPIO_InitStruct);

  /*Configure GPIO pin : ARDUINO_PWM_CS_D5_Pin */
  GPIO_InitStruct.Pin = ARDUINO_PWM_CS_D5_Pin;
  GPIO_InitStruct.Mode = GPIO_MODE_AF_PP;
  GPIO_InitStruct.Pull = GPIO_NOPULL;
  GPIO_InitStruct.Speed = GPIO_SPEED_FREQ_LOW;
  GPIO_InitStruct.Alternate = GPIO_AF2_TIM5;
  HAL_GPIO_Init(ARDUINO_PWM_CS_D5_GPIO_Port, &GPIO_InitStruct);

  /*Configure GPIO pin : VCP_TX_Pin */
  GPIO_InitStruct.Pin = VCP_TX_Pin;
  GPIO_InitStruct.Mode = GPIO_MODE_AF_PP;
  GPIO_InitStruct.Pull = GPIO_NOPULL;
  GPIO_InitStruct.Speed = GPIO_SPEED_FREQ_LOW;
  GPIO_InitStruct.Alternate = GPIO_AF7_USART1;
  HAL_GPIO_Init(VCP_TX_GPIO_Port, &GPIO_InitStruct);

  /*Configure GPIO pin : ARDUINO_PWM_D10_Pin */
  GPIO_InitStruct.Pin = ARDUINO_PWM_D10_Pin;
  GPIO_InitStruct.Mode = GPIO_MODE_AF_PP;
  GPIO_InitStruct.Pull = GPIO_NOPULL;
  GPIO_InitStruct.Speed = GPIO_SPEED_FREQ_LOW;
  GPIO_InitStruct.Alternate = GPIO_AF1_TIM1;
  HAL_GPIO_Init(ARDUINO_PWM_D10_GPIO_Port, &GPIO_InitStruct);

  /*Configure GPIO pin : LCD_INT_Pin */
  GPIO_InitStruct.Pin = LCD_INT_Pin;
  GPIO_InitStruct.Mode = GPIO_MODE_EVT_RISING;
  GPIO_InitStruct.Pull = GPIO_NOPULL;
  HAL_GPIO_Init(LCD_INT_GPIO_Port, &GPIO_InitStruct);

  /*Configure GPIO pins : ARDUINO_RX_D0_Pin ARDUINO_TX_D1_Pin */
  GPIO_InitStruct.Pin = ARDUINO_RX_D0_Pin|ARDUINO_TX_D1_Pin;
  GPIO_InitStruct.Mode = GPIO_MODE_AF_PP;
  GPIO_InitStruct.Pull = GPIO_NOPULL;
  GPIO_InitStruct.Speed = GPIO_SPEED_FREQ_VERY_HIGH;
  GPIO_InitStruct.Alternate = GPIO_AF8_USART6;
  HAL_GPIO_Init(GPIOC, &GPIO_InitStruct);

  /*Configure GPIO pin : ULPI_NXT_Pin */
  GPIO_InitStruct.Pin = ULPI_NXT_Pin;
  GPIO_InitStruct.Mode = GPIO_MODE_AF_PP;
  GPIO_InitStruct.Pull = GPIO_NOPULL;
  GPIO_InitStruct.Speed = GPIO_SPEED_FREQ_VERY_HIGH;
  GPIO_InitStruct.Alternate = GPIO_AF10_OTG_HS;
  HAL_GPIO_Init(ULPI_NXT_GPIO_Port, &GPIO_InitStruct);

  /*Configure GPIO pins : FMC_SDNME_Pin FMC_SDNE0_Pin */
  GPIO_InitStruct.Pin = FMC_SDNME_Pin|FMC_SDNE0_Pin;
  GPIO_InitStruct.Mode = GPIO_MODE_AF_PP;
  GPIO_InitStruct.Pull = GPIO_NOPULL;
  GPIO_InitStruct.Speed = GPIO_SPEED_FREQ_VERY_HIGH;
  GPIO_InitStruct.Alternate = GPIO_AF12_FMC;
  HAL_GPIO_Init(GPIOH, &GPIO_InitStruct);

  /*Configure GPIO pins : ARDUINO_D4_Pin ARDUINO_D2_Pin EXT_RST_Pin */
  GPIO_InitStruct.Pin = ARDUINO_D4_Pin|ARDUINO_D2_Pin|EXT_RST_Pin;
  GPIO_InitStruct.Mode = GPIO_MODE_OUTPUT_PP;
  GPIO_InitStruct.Pull = GPIO_NOPULL;
  GPIO_InitStruct.Speed = GPIO_SPEED_FREQ_LOW;
  HAL_GPIO_Init(GPIOG, &GPIO_InitStruct);

  /*Configure GPIO pins : ARDUINO_A4_Pin ARDUINO_A5_Pin ARDUINO_A1_Pin ARDUINO_A2_Pin
                           ARDUINO_A3_Pin */
  GPIO_InitStruct.Pin = ARDUINO_A4_Pin|ARDUINO_A5_Pin|ARDUINO_A1_Pin|ARDUINO_A2_Pin
                          |ARDUINO_A3_Pin;
  GPIO_InitStruct.Mode = GPIO_MODE_ANALOG;
  GPIO_InitStruct.Pull = GPIO_NOPULL;
  HAL_GPIO_Init(GPIOF, &GPIO_InitStruct);

  /*Configure GPIO pin : FMC_SDCKE0_Pin */
  GPIO_InitStruct.Pin = FMC_SDCKE0_Pin;
  GPIO_InitStruct.Mode = GPIO_MODE_AF_PP;
  GPIO_InitStruct.Pull = GPIO_NOPULL;
  GPIO_InitStruct.Speed = GPIO_SPEED_FREQ_VERY_HIGH;
  GPIO_InitStruct.Alternate = GPIO_AF12_FMC;
  HAL_GPIO_Init(FMC_SDCKE0_GPIO_Port, &GPIO_InitStruct);

  /*Configure GPIO pins : ULPI_STP_Pin ULPI_DIR_Pin */
  GPIO_InitStruct.Pin = ULPI_STP_Pin|ULPI_DIR_Pin;
  GPIO_InitStruct.Mode = GPIO_MODE_AF_PP;
  GPIO_InitStruct.Pull = GPIO_NOPULL;
  GPIO_InitStruct.Speed = GPIO_SPEED_FREQ_VERY_HIGH;
  GPIO_InitStruct.Alternate = GPIO_AF10_OTG_HS;
  HAL_GPIO_Init(GPIOC, &GPIO_InitStruct);

  /*Configure GPIO pin : PB2 */
  GPIO_InitStruct.Pin = GPIO_PIN_2;
  GPIO_InitStruct.Mode = GPIO_MODE_AF_PP;
  GPIO_InitStruct.Pull = GPIO_NOPULL;
  GPIO_InitStruct.Speed = GPIO_SPEED_FREQ_VERY_HIGH;
  GPIO_InitStruct.Alternate = GPIO_AF9_QUADSPI;
  HAL_GPIO_Init(GPIOB, &GPIO_InitStruct);

  /*Configure GPIO pins : QSPI_D1_Pin QSPI_D3_Pin QSPI_D0_Pin */
  GPIO_InitStruct.Pin = QSPI_D1_Pin|QSPI_D3_Pin|QSPI_D0_Pin;
  GPIO_InitStruct.Mode = GPIO_MODE_AF_PP;
  GPIO_InitStruct.Pull = GPIO_NOPULL;
  GPIO_InitStruct.Speed = GPIO_SPEED_FREQ_VERY_HIGH;
  GPIO_InitStruct.Alternate = GPIO_AF9_QUADSPI;
  HAL_GPIO_Init(GPIOD, &GPIO_InitStruct);

  /*Configure GPIO pin : RMII_RXER_Pin */
  GPIO_InitStruct.Pin = RMII_RXER_Pin;
  GPIO_InitStruct.Mode = GPIO_MODE_INPUT;
  GPIO_InitStruct.Pull = GPIO_NOPULL;
  HAL_GPIO_Init(RMII_RXER_GPIO_Port, &GPIO_InitStruct);

  /*Configure GPIO pin : PA0 */
  GPIO_InitStruct.Pin = GPIO_PIN_0;
  GPIO_InitStruct.Mode = GPIO_MODE_ANALOG;
  GPIO_InitStruct.Pull = GPIO_NOPULL;
  HAL_GPIO_Init(GPIOA, &GPIO_InitStruct);

  /*Configure GPIO pins : DCMI_HSYNC_Pin PA6 */
  GPIO_InitStruct.Pin = DCMI_HSYNC_Pin|GPIO_PIN_6;
  GPIO_InitStruct.Mode = GPIO_MODE_AF_PP;
  GPIO_InitStruct.Pull = GPIO_NOPULL;
  GPIO_InitStruct.Speed = GPIO_SPEED_FREQ_LOW;
  GPIO_InitStruct.Alternate = GPIO_AF13_DCMI;
  HAL_GPIO_Init(GPIOA, &GPIO_InitStruct);

  /*Configure GPIO pins : LCD_SCL_Pin LCD_SDA_Pin */
  GPIO_InitStruct.Pin = LCD_SCL_Pin|LCD_SDA_Pin;
  GPIO_InitStruct.Mode = GPIO_MODE_AF_OD;
  GPIO_InitStruct.Pull = GPIO_NOPULL;
  GPIO_InitStruct.Speed = GPIO_SPEED_FREQ_VERY_HIGH;
  GPIO_InitStruct.Alternate = GPIO_AF4_I2C3;
  HAL_GPIO_Init(GPIOH, &GPIO_InitStruct);

  /*Configure GPIO pins : ULPI_CLK_Pin ULPI_D0_Pin */
  GPIO_InitStruct.Pin = ULPI_CLK_Pin|ULPI_D0_Pin;
  GPIO_InitStruct.Mode = GPIO_MODE_AF_PP;
  GPIO_InitStruct.Pull = GPIO_NOPULL;
  GPIO_InitStruct.Speed = GPIO_SPEED_FREQ_VERY_HIGH;
  GPIO_InitStruct.Alternate = GPIO_AF10_OTG_HS;
  HAL_GPIO_Init(GPIOA, &GPIO_InitStruct);

  /*Configure GPIO pin : ARDUINO_PWM_D6_Pin */
  GPIO_InitStruct.Pin = ARDUINO_PWM_D6_Pin;
  GPIO_InitStruct.Mode = GPIO_MODE_AF_PP;
  GPIO_InitStruct.Pull = GPIO_NOPULL;
  GPIO_InitStruct.Speed = GPIO_SPEED_FREQ_LOW;
  GPIO_InitStruct.Alternate = GPIO_AF9_TIM12;
  HAL_GPIO_Init(ARDUINO_PWM_D6_GPIO_Port, &GPIO_InitStruct);

  /*Configure GPIO pins : ARDUINO_MISO_D12_Pin ARDUINO_MOSI_PWM_D11_Pin */
  GPIO_InitStruct.Pin = ARDUINO_MISO_D12_Pin|ARDUINO_MOSI_PWM_D11_Pin;
  GPIO_InitStruct.Mode = GPIO_MODE_AF_PP;
  GPIO_InitStruct.Pull = GPIO_NOPULL;
  GPIO_InitStruct.Speed = GPIO_SPEED_FREQ_LOW;
  GPIO_InitStruct.Alternate = GPIO_AF5_SPI2;
  HAL_GPIO_Init(GPIOB, &GPIO_InitStruct);

/* USER CODE BEGIN MX_GPIO_Init_2 */
	keyboard_GPIO_init();
	switch_GPIO_init();
	spinner_GPIO_init();
/* USER CODE END MX_GPIO_Init_2 */
}

void StartDefaultTask(void *argument)
{
  /* init code for LWIP */
  MX_LWIP_Init();
  /* USER CODE BEGIN 5 */

osDelay(1);

	//inf_loop();

  /* Infinite loop */
  for(;;)
  {
  	//state_machine();
  	//state_ether();
    osDelay(1);
  }
  /* USER CODE END 5 */
}

void StartTaskEtherStates(void *argument)
{
  /* USER CODE BEGIN StartTaskEtherStates */
	if(tcp_ether_init()!=0){
		print_string(10, 40, "ETHERNET FAILURE!", 0x797);
	}else{
		print_string(10, 40, "ETHERNET SUCCESS!", 0x797);
		inf_loop();
	}
  /* Infinite loop */
  for(;;)
  {
    osDelay(1);
  }
  /* USER CODE END StartTaskEtherStates */
}

void HAL_TIM_PeriodElapsedCallback(TIM_HandleTypeDef *htim)
{
  if (htim->Instance == TIM6) {
    HAL_IncTick();
  }
}

void Error_Handler(void)
{
	__disable_irq();
	while (1)
	{
	}
}
